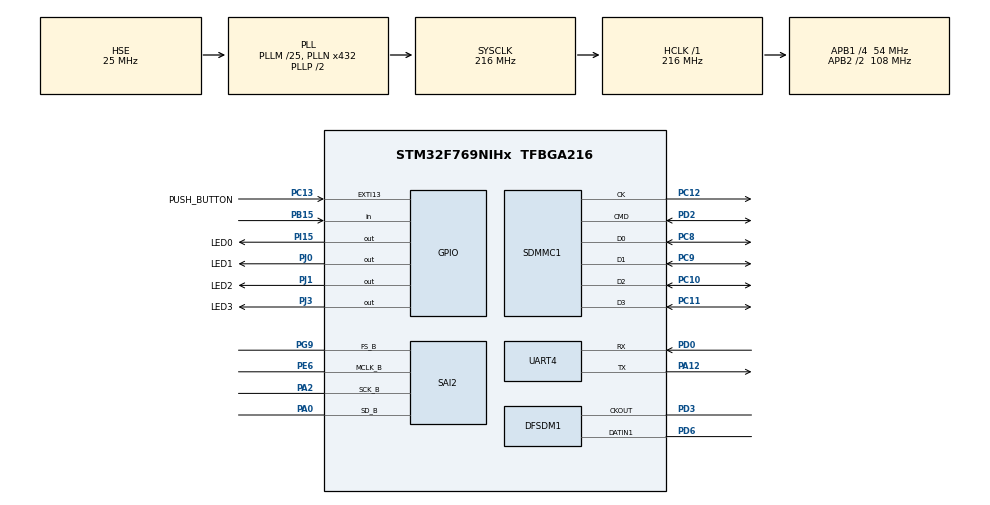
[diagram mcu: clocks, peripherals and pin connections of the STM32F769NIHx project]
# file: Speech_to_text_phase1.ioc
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ADC1.Channel-3\#ChannelRegularConversion=ADC_CHANNEL_TEMPSENSOR
ADC1.NbrOfConversionFlag=1
ADC1.Rank-3\#ChannelRegularConversion=1
ADC1.SamplingTime-3\#ChannelRegularConversion=ADC_SAMPLETIME_3CYCLES
ADC1.master=1
CORTEX_M7.CPU_DCache=Enabled
CORTEX_M7.CPU_ICache=Enabled
DFSDM1.Divider=4
DFSDM1.DmaMode_reg_FIL0=ENABLE
DFSDM1.DmaMode_reg_FIL1=ENABLE
DFSDM1.FastMode_reg_FIL0=ENABLE
DFSDM1.FastMode_reg_FIL1=ENABLE
DFSDM1.Filter_injChannel0_FIL1=DFSDM_CHANNEL_0
DFSDM1.Filter_injChannel1_FIL0=DFSDM_CHANNEL_1
DFSDM1.Filter_regChannel_FIL0=DFSDM_CHANNEL_1
DFSDM1.Filter_regChannel_FIL1=DFSDM_CHANNEL_1
DFSDM1.Fosr_FIL0=176
DFSDM1.Fosr_FIL1=176
DFSDM1.Oversampling_CH0=1
DFSDM1.Oversampling_CH1=10
DFSDM1.RightBitShift_CH0=0x00
DFSDM1.RightBitShift_CH1=0x02
DFSDM1.ScanMode_inj_FIL1=ENABLE
DFSDM1.Selection=DFSDM_CHANNEL_OUTPUT_CLOCK_AUDIO
DFSDM1.SincOrder_FIL0=DFSDM_FILTER_SINC3_ORDER
DFSDM1.SincOrder_FIL1=DFSDM_FILTER_SINC3_ORDER
DFSDM1.Trigger_reg_FIL1=DFSDM_FILTER_SYNC_TRIGGER
Dma.DFSDM1_FLT0.0.Direction=DMA_PERIPH_TO_MEMORY
Dma.DFSDM1_FLT0.0.FIFOMode=DMA_FIFOMODE_DISABLE
Dma.DFSDM1_FLT0.0.Instance=DMA2_Stream0
Dma.DFSDM1_FLT0.0.MemDataAlignment=DMA_MDATAALIGN_WORD
Dma.DFSDM1_FLT0.0.MemInc=DMA_MINC_ENABLE
Dma.DFSDM1_FLT0.0.Mode=DMA_CIRCULAR
Dma.DFSDM1_FLT0.0.PeriphDataAlignment=DMA_PDATAALIGN_WORD
Dma.DFSDM1_FLT0.0.PeriphInc=DMA_PINC_DISABLE
Dma.DFSDM1_FLT0.0.Priority=DMA_PRIORITY_HIGH
Dma.DFSDM1_FLT1.1.Direction=DMA_PERIPH_TO_MEMORY
Dma.DFSDM1_FLT1.1.FIFOMode=DMA_FIFOMODE_DISABLE
Dma.DFSDM1_FLT1.1.Instance=DMA2_Stream5
Dma.DFSDM1_FLT1.1.MemDataAlignment=DMA_MDATAALIGN_WORD
Dma.DFSDM1_FLT1.1.MemInc=DMA_MINC_ENABLE
Dma.DFSDM1_FLT1.1.Mode=DMA_CIRCULAR
Dma.DFSDM1_FLT1.1.PeriphDataAlignment=DMA_PDATAALIGN_WORD
Dma.DFSDM1_FLT1.1.PeriphInc=DMA_PINC_DISABLE
Dma.DFSDM1_FLT1.1.Priority=DMA_PRIORITY_HIGH
Dma.Request0=DFSDM1_FLT0
Dma.Request1=DFSDM1_FLT1
Dma.Request2=SAI2_B
Dma.Request3=SDMMC1_RX
Dma.Request4=SDMMC1_TX
Dma.SAI2_B.2.Direction=DMA_MEMORY_TO_PERIPH
Dma.SAI2_B.2.FIFOMode=DMA_FIFOMODE_DISABLE
Dma.SAI2_B.2.Instance=DMA2_Stream1
Dma.SAI2_B.2.MemDataAlignment=DMA_MDATAALIGN_HALFWORD
Dma.SAI2_B.2.MemInc=DMA_MINC_ENABLE
Dma.SAI2_B.2.Mode=DMA_CIRCULAR
Dma.SAI2_B.2.PeriphDataAlignment=DMA_PDATAALIGN_HALFWORD
Dma.SAI2_B.2.PeriphInc=DMA_PINC_DISABLE
Dma.SAI2_B.2.Priority=DMA_PRIORITY_HIGH
Dma.SDMMC1_RX.3.Direction=DMA_PERIPH_TO_MEMORY
Dma.SDMMC1_RX.3.FIFOMode=DMA_FIFOMODE_ENABLE
Dma.SDMMC1_RX.3.FIFOThreshold=DMA_FIFO_THRESHOLD_FULL
Dma.SDMMC1_RX.3.Instance=DMA2_Stream6
Dma.SDMMC1_RX.3.MemBurst=DMA_MBURST_INC4
Dma.SDMMC1_RX.3.MemDataAlignment=DMA_MDATAALIGN_WORD
Dma.SDMMC1_RX.3.MemInc=DMA_MINC_ENABLE
Dma.SDMMC1_RX.3.Mode=DMA_PFCTRL
Dma.SDMMC1_RX.3.PeriphBurst=DMA_PBURST_INC4
Dma.SDMMC1_RX.3.PeriphDataAlignment=DMA_PDATAALIGN_WORD
Dma.SDMMC1_RX.3.PeriphInc=DMA_PINC_DISABLE
Dma.SDMMC1_RX.3.Priority=DMA_PRIORITY_LOW
Dma.SDMMC1_TX.4.Direction=DMA_MEMORY_TO_PERIPH
Dma.SDMMC1_TX.4.FIFOMode=DMA_FIFOMODE_ENABLE
Dma.SDMMC1_TX.4.FIFOThreshold=DMA_FIFO_THRESHOLD_FULL
Dma.SDMMC1_TX.4.Instance=DMA2_Stream3
Dma.SDMMC1_TX.4.MemBurst=DMA_MBURST_INC4
Dma.SDMMC1_TX.4.MemDataAlignment=DMA_MDATAALIGN_WORD
Dma.SDMMC1_TX.4.MemInc=DMA_MINC_ENABLE
Dma.SDMMC1_TX.4.Mode=DMA_PFCTRL
Dma.SDMMC1_TX.4.PeriphBurst=DMA_PBURST_INC4
Dma.SDMMC1_TX.4.PeriphDataAlignment=DMA_PDATAALIGN_WORD
Dma.SDMMC1_TX.4.PeriphInc=DMA_PINC_DISABLE
Dma.SDMMC1_TX.4.Priority=DMA_PRIORITY_LOW
FATFS.BSP.number=1
FATFS.USE_DMA_CODE_SD=1
FATFS0.BSP.STBoard=false
FATFS0.BSP.api=Unknown
FATFS0.BSP.instance=PB15
FATFS0.BSP.ip=GPIO
FATFS0.BSP.mode=Input
FATFS0.BSP.name=Detect_SDIO
FATFS0.BSP.solution=PB15
Mcu.Family=STM32F7
Mcu.Name=STM32F769NIHx
Mcu.Package=TFBGA216
NVIC.DMA2_Stream0_IRQn=true\:0\:0\:false\:false\:true\:false\:true\:true
NVIC.DMA2_Stream1_IRQn=true\:0\:0\:false\:false\:true\:false\:true\:true
NVIC.DMA2_Stream3_IRQn=true\:0\:0\:false\:false\:true\:false\:true\:true
NVIC.DMA2_Stream5_IRQn=true\:0\:0\:false\:false\:true\:false\:true\:true
NVIC.DMA2_Stream6_IRQn=true\:0\:0\:false\:false\:true\:false\:true\:true
NVIC.EXTI15_10_IRQn=true\:0\:0\:false\:false\:true\:true\:true\:true
NVIC.PriorityGroup=NVIC_PRIORITYGROUP_4
NVIC.RTC_Alarm_IRQn=true\:0\:0\:false\:false\:true\:true\:true\:true
NVIC.SDMMC1_IRQn=true\:0\:0\:false\:false\:true\:true\:true\:true
NVIC.TIM2_IRQn=true\:0\:0\:false\:false\:true\:true\:true\:true
PA0/WKUP.GPIO_Speed=GPIO_SPEED_FREQ_VERY_HIGH
PA0/WKUP.Mode=SAI_B_MasterWithClock
PA0/WKUP.Signal=SAI2_SD_B
PA12.Mode=Asynchronous
PA12.Signal=UART4_TX
PA2.GPIO_Speed=GPIO_SPEED_FREQ_VERY_HIGH
PA2.Mode=SAI_B_MasterWithClock
PA2.Signal=SAI2_SCK_B
PB15.Signal=GPIO_Input
PC10.Mode=SD_4_bits_Wide_bus
PC10.Signal=SDMMC1_D2
PC11.Mode=SD_4_bits_Wide_bus
PC11.Signal=SDMMC1_D3
PC12.Mode=SD_4_bits_Wide_bus
PC12.Signal=SDMMC1_CK
PC13.GPIO_Label=PUSH_BUTTON
PC13.Signal=GPXTI13
PC14/OSC32_IN.Mode=LSE-External-Oscillator
PC14/OSC32_IN.Signal=RCC_OSC32_IN
PC15/OSC32_OUT.Mode=LSE-External-Oscillator
PC15/OSC32_OUT.Signal=RCC_OSC32_OUT
PC8.Mode=SD_4_bits_Wide_bus
PC8.Signal=SDMMC1_D0
PC9.Mode=SD_4_bits_Wide_bus
PC9.Signal=SDMMC1_D1
PD0.Mode=Asynchronous
PD0.Signal=UART4_RX
PD2.Mode=SD_4_bits_Wide_bus
PD2.Signal=SDMMC1_CMD
PD3.GPIO_PuPd=GPIO_PULLDOWN
PD3.GPIO_Speed=GPIO_SPEED_FREQ_VERY_HIGH
PD3.Signal=S_CKOUTDFSDM1
PD6.GPIO_PuPd=GPIO_PULLDOWN
PD6.GPIO_Speed=GPIO_SPEED_FREQ_VERY_HIGH
PD6.Signal=S_DATAIN1DFSDM1
PE6.GPIO_Speed=GPIO_SPEED_FREQ_VERY_HIGH
PE6.Mode=SAI_B_MasterWithClock
PE6.Signal=SAI2_MCLK_B
PG9.GPIO_Speed=GPIO_SPEED_FREQ_VERY_HIGH
PG9.Mode=SAI_B_MasterWithClock
PG9.Signal=SAI2_FS_B
PH0/OSC_IN.Mode=HSE-External-Oscillator
PH0/OSC_IN.Signal=RCC_OSC_IN
PH1/OSC_OUT.Mode=HSE-External-Oscillator
PH1/OSC_OUT.Signal=RCC_OSC_OUT
PI15.GPIO_Label=LED0
PI15.Signal=GPIO_Output
PJ0.GPIO_Label=LED1
PJ0.Signal=GPIO_Output
PJ1.GPIO_Label=LED2
PJ1.Signal=GPIO_Output
PJ3.GPIO_Label=LED3
PJ3.Signal=GPIO_Output
ProjectManager.HeapSize=0x800
ProjectManager.StackSize=0x800
ProjectManager.TargetToolchain=STM32CubeIDE
RCC.AHBFreq_Value=216000000
RCC.APB1CLKDivider=RCC_HCLK_DIV4
RCC.APB1Freq_Value=54000000
RCC.APB1TimFreq_Value=108000000
RCC.APB2CLKDivider=RCC_HCLK_DIV2
RCC.APB2Freq_Value=108000000
RCC.APB2TimFreq_Value=216000000
RCC.CortexFreq_Value=216000000
RCC.DFSDMAudioSelection=RCC_DFSDM1AUDIOCLKSOURCE_SAI2
RCC.HCLKFreq_Value=216000000
RCC.HSE_VALUE=25000000
RCC.HSI_VALUE=16000000
RCC.PLLM=25
RCC.PLLN=432
RCC.PLLQ=9
RCC.PLLSAIN=429
RCC.PLLSAIQ=6
RCC.PLLSAIQDiv=6
RCC.PLLSourceVirtual=RCC_PLLSOURCE_HSE
RCC.SAI1CLockSelection=RCC_SAI1CLKSOURCE_PLLSRC
RCC.SDMMCClockSelection=RCC_SDMMC1CLKSOURCE_CLK48
RCC.SYSCLKFreq_VALUE=216000000
RCC.SYSCLKSource=RCC_SYSCLKSOURCE_PLLCLK
RCC.USBFreq_Value=48000000
RCC.VCOOutputFreq_Value=432000000
RTC.Alarm-Alarm\ A=RTC_ALARM_A
RTC.AlarmDateWeekDaySel-Alarm\ A=RTC_ALARMDATEWEEKDAYSEL_DATE
RTC.AlarmMaskDateWeekDay-Alarm\ A=RTC_ALARMMASK_DATEWEEKDAY
SAI2.ActiveFrameLength-SAI_B_MasterWithClock=16
SAI2.DataSize-SAI_B_MasterWithClock=SAI_DATASIZE_16
SAI2.ErrorAudioFreq-SAI_B_MasterWithClock=-92.24 %
SAI2.FIFOThreshold-SAI_B_MasterWithClock=SAI_FIFOTHRESHOLD_1QF
SAI2.FSDefinition-SAI_B_MasterWithClock=SAI_FS_CHANNEL_IDENTIFICATION
SAI2.FSOffset-SAI_B_MasterWithClock=SAI_FS_BEFOREFIRSTBIT
SAI2.FrameLength-SAI_B_MasterWithClock=32
SAI2.Instance-SAI_B_MasterWithClock=SAI$Index_Block_B
SAI2.MClockEnable-SAI_B_MasterWithClock=SAI_MASTERCLOCK_ENABLE
SAI2.OutputDrive-SAI_B_MasterWithClock=SAI_OUTPUTDRIVE_ENABLE
SAI2.RealAudioFreq-SAI_B_MasterWithClock=14.895 KHz
SAI2.SlotActive-SAI_B_MasterWithClock=0x00000003
SAI2.SlotNumber-SAI_B_MasterWithClock=2
SAI2.SlotSize-SAI_B_MasterWithClock=SAI_SLOTSIZE_DATASIZE
SAI2.VirtualMode-SAI_B_MasterWithClock=VM_MASTER
SAI2.VirtualSlotActive-SAI_B_MasterWithClock=SAI_SLOT_USERSETTING
SAI2.VirtualSlotActive0-SAI_B_MasterWithClock=true
SAI2.VirtualSlotActive1-SAI_B_MasterWithClock=true
SH.S_CKOUTDFSDM1.0=DFSDM1_CKOUT,PDM_SPI_input_from_ch1_and_internal_clock
SH.S_CKOUTDFSDM1.1=DFSDM1_CKOUT,PDM_SPI_Input_from_ch01_and_Internal_Clock
SH.S_DATAIN1DFSDM1.0=DFSDM1_DATIN1,PDM_SPI_input_from_ch1_and_internal_clock
SH.S_DATAIN1DFSDM1.1=DFSDM1_DATIN1,PDM_SPI_Input_from_ch01_and_Internal_Clock
STMicroelectronics.X-CUBE-AI.7.3.0.ActivationBufferSizeList=283616
STMicroelectronics.X-CUBE-AI.7.3.0.ActivationBuffers=pool0
STMicroelectronics.X-CUBE-AI.7.3.0.ActivationNames=pool0
STMicroelectronics.X-CUBE-AI.7.3.0.ActivationSizes=AI_PHASE_1_DATA_ACTIVATION_1_SIZE
STMicroelectronics.X-CUBE-AI.7.3.0.HeapSize=0x800
STMicroelectronics.X-CUBE-AI.7.3.0.InternalRamActivationBufferMaxSize=AI_PHASE_1_DATA_ACTIVATIONS_SIZE
STMicroelectronics.X-CUBE-AI.7.3.0.LatestDirectoryUsed-d8d236afa5e5916b91605adadd82be7b929e429c9d58953bdbba35f33b84e7b1=/home/felipe/T\u00E9l\u00E9chargements
STMicroelectronics.X-CUBE-AI.7.3.0.MaximumNumberOfInputLayer=1
STMicroelectronics.X-CUBE-AI.7.3.0.MaximumNumberOfOutputLayer=1
STMicroelectronics.X-CUBE-AI.7.3.0.MaximumSizeOfInputLayer=1
STMicroelectronics.X-CUBE-AI.7.3.0.MaximumSizeOfOutputLayer=1
STMicroelectronics.X-CUBE-AI.7.3.0.ModelActualCompression-d8d236afa5e5916b91605adadd82be7b929e429c9d58953bdbba35f33b84e7b1=3.21
STMicroelectronics.X-CUBE-AI.7.3.0.ModelCompression-d8d236afa5e5916b91605adadd82be7b929e429c9d58953bdbba35f33b84e7b1=Low
STMicroelectronics.X-CUBE-AI.7.3.0.ModelFlashOccupation-d8d236afa5e5916b91605adadd82be7b929e429c9d58953bdbba35f33b84e7b1=1459376
STMicroelectronics.X-CUBE-AI.7.3.0.ModelHashList=d8d236afa5e5916b91605adadd82be7b929e429c9d58953bdbba35f33b84e7b1
STMicroelectronics.X-CUBE-AI.7.3.0.ModelKind-d8d236afa5e5916b91605adadd82be7b929e429c9d58953bdbba35f33b84e7b1=TFLITE
STMicroelectronics.X-CUBE-AI.7.3.0.ModelMacc-d8d236afa5e5916b91605adadd82be7b929e429c9d58953bdbba35f33b84e7b1=21032320
STMicroelectronics.X-CUBE-AI.7.3.0.ModelName-d8d236afa5e5916b91605adadd82be7b929e429c9d58953bdbba35f33b84e7b1=phase_1
STMicroelectronics.X-CUBE-AI.7.3.0.ModelNameList=phase_1
STMicroelectronics.X-CUBE-AI.7.3.0.ModelRamOccupation-d8d236afa5e5916b91605adadd82be7b929e429c9d58953bdbba35f33b84e7b1=283616
STMicroelectronics.X-CUBE-AI.7.3.0.ModelStructureFile-d8d236afa5e5916b91605adadd82be7b929e429c9d58953bdbba35f33b84e7b1=/home/felipe/T\u00E9l\u00E9chargements/phase1.tflite
STMicroelectronics.X-CUBE-AI.7.3.0.ModelType-d8d236afa5e5916b91605adadd82be7b929e429c9d58953bdbba35f33b84e7b1=STM32Cube.AI runtime
STMicroelectronics.X-CUBE-AI.7.3.0.ReadyForCodeGeneration=true
STMicroelectronics.X-CUBE-AI.7.3.0.StackSize=0x800
STMicroelectronics.X-CUBE-AI.7.3.0.WorkingBufferStartAddrList=0xFFFFFFFF
STMicroelectronics.X-CUBE-AI.7.3.0.XAaCUBEAaAICcArtificialOoIntelligenceJjCore=true
STMicroelectronics.X-CUBE-AI.7.3.0.copyWeightToRam=false
STMicroelectronics.X-CUBE-AI.7.3.0.copyWeightToRam-d8d236afa5e5916b91605adadd82be7b929e429c9d58953bdbba35f33b84e7b1=false
STMicroelectronics.X-CUBE-AI.7.3.0.customLayerConfigEnabled=false
STMicroelectronics.X-CUBE-AI.7.3.0.customLayerConfigEnabled-d8d236afa5e5916b91605adadd82be7b929e429c9d58953bdbba35f33b84e7b1=false
STMicroelectronics.X-CUBE-AI.7.3.0.outputDirectory=/home/felipe/.stm32cubemx/phase_1_output
STMicroelectronics.X-CUBE-AI.7.3.0.outputDirectory-d8d236afa5e5916b91605adadd82be7b929e429c9d58953bdbba35f33b84e7b1=/home/felipe/.stm32cubemx/phase_1_output
STMicroelectronics.X-CUBE-AI.7.3.0.useInputAllocation=true
STMicroelectronics.X-CUBE-AI.7.3.0.useInputAllocation-d8d236afa5e5916b91605adadd82be7b929e429c9d58953bdbba35f33b84e7b1=true
STMicroelectronics.X-CUBE-AI.7.3.0.useOutputAllocation=true
STMicroelectronics.X-CUBE-AI.7.3.0.useOutputAllocation-d8d236afa5e5916b91605adadd82be7b929e429c9d58953bdbba35f33b84e7b1=true
TIM2.AutoReloadPreload=TIM_AUTORELOAD_PRELOAD_ENABLE
TIM2.Period=3600
TIM2.Prescaler=1000
VP_ADC1_TempSens_Input.Mode=IN-TempSens
VP_CRC_VS_CRC.Mode=CRC_Activate
VP_FATFS_VS_SDIO.Mode=SDIO
VP_RTC_VS_RTC_Activate.Mode=RTC_Enabled
VP_RTC_VS_RTC_Alarm_A_Intern.Mode=Alarm A
VP_RTC_VS_RTC_Calendar.Mode=RTC_Calendar
VP_STMicroelectronics.X-CUBE-AI_VS_ArtificialOoIntelligenceJjXAaCUBEAaAI_7.3.0.Mode=ArtificialOoIntelligenceJjXAaCUBEAaAI
VP_TIM2_VS_ClockSourceINT.Mode=Internal
board=custom

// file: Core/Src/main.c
/* USER CODE BEGIN Header */
/**
  ******************************************************************************
  * @file           : main.c
  * @brief          : Main program body
  ******************************************************************************
  * @attention
  *
  * Copyright (c) 2023 STMicroelectronics.
  * All rights reserved.
  *
  * This software is licensed under terms that can be found in the LICENSE file
  * in the root directory of this software component.
  * If no LICENSE file comes with this software, it is provided AS-IS.
  *
  ******************************************************************************
  */
/* USER CODE END Header */
#include "main.h"
#include "adc.h"
#include "crc.h"
#include "dfsdm.h"
#include "dma.h"
#include "fatfs.h"
#include "rtc.h"
#include "sai.h"
#include "sdmmc.h"
#include "tim.h"
#include "usart.h"
#include "gpio.h"

/* USER CODE BEGIN Includes */

#include "microphone.h"
#include "user_gpio.h"
#include "sd.h"
#include "spectrogram.h"
#include "wav.h"
#include "ai.h"
#include "user_tim.h"

#include "string.h"

/* USER CODE END Includes */

/* USER CODE BEGIN PV */

int recording;

extern float32_t spectrogram_output[MEL_SPEC_SIZE];

extern SAI_HandleTypeDef hsai_BlockB2;
extern DMA_HandleTypeDef hdma_sai2_b;

extern WAVE_FormatTypeDef WaveFormat;
extern AUDIO_IN_BufferTypeDef  BufferCtl;
extern uint8_t pHeaderBuff[44];

extern DFSDM_Filter_HandleTypeDef hdfsdm1_filter0;
extern DFSDM_Filter_HandleTypeDef hdfsdm1_filter1;
extern DFSDM_Channel_HandleTypeDef hdfsdm1_channel0;
extern DFSDM_Channel_HandleTypeDef hdfsdm1_channel1;
extern DMA_HandleTypeDef hdma_dfsdm1_flt0;
extern DMA_HandleTypeDef hdma_dfsdm1_flt1;
#define SaturaLH(N, L, H) (((N)<(L))?(L):(((N)>(H))?(H):(N)))
int32_t                      LeftRecBuff[2048];
int32_t                      RightRecBuff[2048];
int16_t                      PlayBuff[4096];
uint32_t                     DmaLeftRecHalfBuffCplt  = 0;
uint32_t                     DmaLeftRecBuffCplt      = 0;
uint32_t                     DmaRightRecHalfBuffCplt = 0;
uint32_t                     DmaRightRecBuffCplt     = 0;
uint32_t                     PlaybackStarted         = 0;

/* USER CODE END PV */

void SystemClock_Config(void);
void PeriphCommonClock_Config(void);

int main(void)
{
  /* USER CODE BEGIN 1 */
	char file_name[35];
	char directory_name[35];
	char file_path [35];

	ModelOutput output;
  /* USER CODE END 1 */

  /* Enable I-Cache---------------------------------------------------------*/
  SCB_EnableICache();

  /* Enable D-Cache---------------------------------------------------------*/
  SCB_EnableDCache();

  /* MCU Configuration--------------------------------------------------------*/

  /* Reset of all peripherals, Initializes the Flash interface and the Systick. */
  HAL_Init();

  /* Configure the system clock */
  SystemClock_Config();

/* Configure the peripherals common clocks */
  PeriphCommonClock_Config();

  /* Initialize all configured peripherals */
  MX_GPIO_Init();
  MX_DMA_Init();
  MX_DFSDM1_Init();
  MX_SAI2_Init();
  MX_ADC1_Init();
  MX_UART4_Init();
  MX_CRC_Init();
  MX_RTC_Init();
  MX_SDMMC1_SD_Init();
  MX_FATFS_Init();
  MX_TIM2_Init();
  /* USER CODE BEGIN 2 */
  /* Start DFSDM conversions */
    if(HAL_OK != HAL_DFSDM_FilterRegularStart_DMA(&hdfsdm1_filter1, RightRecBuff, 2048))
    {
      Error_Handler();
    }
    if(HAL_OK != HAL_DFSDM_FilterRegularStart_DMA(&hdfsdm1_filter0, LeftRecBuff, 2048))
    {
      Error_Handler();
    }

	SDInit();
	 HAL_GPIO_WritePin(LED0_GPIO_Port, LED0_Pin, 1);
	 HAL_GPIO_WritePin(LED1_GPIO_Port, LED1_Pin, 1);
	 HAL_GPIO_WritePin(LED2_GPIO_Port, LED2_Pin, 1);
	 HAL_GPIO_WritePin(LED3_GPIO_Port, LED3_Pin, 1);

	 Preprocessing_Init();
	 if (modelSetup()!= AI_OK)
	{
		Error_Handler();
	}
	 HAL_TIM_Base_Start_IT(&htim2);
  /* USER CODE END 2 */

  /* Infinite loop */
  while (1)
  {

    /* USER CODE BEGIN 3 */

	  //wait for the temper button to be pressed
	  while (!recording);
	  // debouncing
	  HAL_Delay(250);
	  recording = 1;
	  //reset the buffer
	  BufferCtl.fptr = 0;
	  BufferCtl.wr_state = BUFFER_EMPTY;
	  //LEDs on = recording
	  HAL_GPIO_WritePin(LED0_GPIO_Port, LED0_Pin, 0);
	  HAL_GPIO_WritePin(LED1_GPIO_Port, LED1_Pin, 0);
	  HAL_GPIO_WritePin(LED2_GPIO_Port, LED2_Pin, 0);
	  HAL_GPIO_WritePin(LED3_GPIO_Port, LED3_Pin, 0);
	  //qaits until the button is pressed again or for the buffer to be full
	  while (recording && BufferCtl.wr_state == BUFFER_EMPTY)
	  {
		  //sends the microphone data to the buffer
		  checkMicrophone();
	  }
	  HAL_Delay(250);
	  recording = 0;
	  //read date to folder name
	  get_date((char*)directory_name);
	  //creates a folder with the date
	  f_mkdir ((char*)(directory_name));
	  //read time and date
	  get_time_filename((char*)file_name);

//////////////////////////////////////
	  //getting the mel spectrogram
	  AudioPreprocessing_RunMethod4(BufferCtl.pcm_buff, (float32_t*)spectrogram_output, BufferCtl.fptr);
	  if (EXPORT_SPEC)
	  	  {
		  	  sprintf((char*)file_path,"%s/%s",directory_name, file_name);
		  	  //write to the sd card
		  	  createFile((char*)file_path);
		  	  writeToFile((uint8_t*)spectrogram_output, 4*MEL_SPEC_SIZE);
		  	  SDclose();
	  	  }
//////////////////////////////////////
	  if (EXPORT_WAV)
	  {
		  sprintf((char*)file_path,"%s/%s.wav",directory_name, file_name);
		  //write to the sd card
		  createFile((char*)file_path);
		  //creates the header and saves audio file
		  WavProcess_EncInit(DEFAULT_AUDIO_IN_FREQ, pHeaderBuff);
		  writeToFile(pHeaderBuff, sizeof(WAVE_FormatTypeDef));
		  writeToFile((uint8_t*)BufferCtl.pcm_buff, BufferCtl.size);
		  SDclose();
	  }

////////////////////////////////////// AI
	  if (EXPORT_WAV)
	  {
		  //getting the mel spectrogram
		  output = modelRun((float32_t*)spectrogram_output);
		  sprintf((char*)file_path,"%s/%s.txt",directory_name, file_name);
		  //write to the sd card
		  createFile((char*)file_path);
		  char * answer = getText(output);
		  writeToFile(answer, strlen(answer));
		  SDclose();
	  }
	  ledsShowValue(output);
  }
  /* USER CODE END 3 */
}

void SystemClock_Config(void)
{
  RCC_OscInitTypeDef RCC_OscInitStruct = {0};
  RCC_ClkInitTypeDef RCC_ClkInitStruct = {0};

  /** Configure LSE Drive Capability
  */
  HAL_PWR_EnableBkUpAccess();

  /** Configure the main internal regulator output voltage
  */
  __HAL_RCC_PWR_CLK_ENABLE();
  __HAL_PWR_VOLTAGESCALING_CONFIG(PWR_REGULATOR_VOLTAGE_SCALE1);

  /** Initializes the RCC Oscillators according to the specified parameters
  * in the RCC_OscInitTypeDef structure.
  */
  RCC_OscInitStruct.OscillatorType = RCC_OSCILLATORTYPE_LSI|RCC_OSCILLATORTYPE_HSE;
  RCC_OscInitStruct.HSEState = RCC_HSE_ON;
  RCC_OscInitStruct.LSIState = RCC_LSI_ON;
  RCC_OscInitStruct.PLL.PLLState = RCC_PLL_ON;
  RCC_OscInitStruct.PLL.PLLSource = RCC_PLLSOURCE_HSE;
  RCC_OscInitStruct.PLL.PLLM = 25;
  RCC_OscInitStruct.PLL.PLLN = 432;
  RCC_OscInitStruct.PLL.PLLP = RCC_PLLP_DIV2;
  RCC_OscInitStruct.PLL.PLLQ = 9;
  RCC_OscInitStruct.PLL.PLLR = 2;
  if (HAL_RCC_OscConfig(&RCC_OscInitStruct) != HAL_OK)
  {
    Error_Handler();
  }

  /** Activate the Over-Drive mode
  */
  if (HAL_PWREx_EnableOverDrive() != HAL_OK)
  {
    Error_Handler();
  }

  /** Initializes the CPU, AHB and APB buses clocks
  */
  RCC_ClkInitStruct.ClockType = RCC_CLOCKTYPE_HCLK|RCC_CLOCKTYPE_SYSCLK
                              |RCC_CLOCKTYPE_PCLK1|RCC_CLOCKTYPE_PCLK2;
  RCC_ClkInitStruct.SYSCLKSource = RCC_SYSCLKSOURCE_PLLCLK;
  RCC_ClkInitStruct.AHBCLKDivider = RCC_SYSCLK_DIV1;
  RCC_ClkInitStruct.APB1CLKDivider = RCC_HCLK_DIV4;
  RCC_ClkInitStruct.APB2CLKDivider = RCC_HCLK_DIV2;

  if (HAL_RCC_ClockConfig(&RCC_ClkInitStruct, FLASH_LATENCY_7) != HAL_OK)
  {
    Error_Handler();
  }
}

void PeriphCommonClock_Config(void)
{
  RCC_PeriphCLKInitTypeDef PeriphClkInitStruct = {0};

  /** Initializes the peripherals clock
  */
  PeriphClkInitStruct.PeriphClockSelection = RCC_PERIPHCLK_DFSDM1|RCC_PERIPHCLK_DFSDM1_AUDIO
                              |RCC_PERIPHCLK_SAI2|RCC_PERIPHCLK_CLK48;
  PeriphClkInitStruct.PLLSAI.PLLSAIN = 429;
  PeriphClkInitStruct.PLLSAI.PLLSAIR = 2;
  PeriphClkInitStruct.PLLSAI.PLLSAIQ = 6;
  PeriphClkInitStruct.PLLSAI.PLLSAIP = RCC_PLLSAIP_DIV2;
  PeriphClkInitStruct.PLLSAIDivQ = 6;
  PeriphClkInitStruct.PLLSAIDivR = RCC_PLLSAIDIVR_2;
  PeriphClkInitStruct.Sai2ClockSelection = RCC_SAI2CLKSOURCE_PLLSAI;
  PeriphClkInitStruct.Dfsdm1AudioClockSelection = RCC_DFSDM1AUDIOCLKSOURCE_SAI2;
  PeriphClkInitStruct.Dfsdm1ClockSelection = RCC_DFSDM1CLKSOURCE_PCLK;
  if (HAL_RCCEx_PeriphCLKConfig(&PeriphClkInitStruct) != HAL_OK)
  {
    Error_Handler();
  }
}

void Error_Handler(void)
{
  __disable_irq();
  while (1)
  {
  }
}
